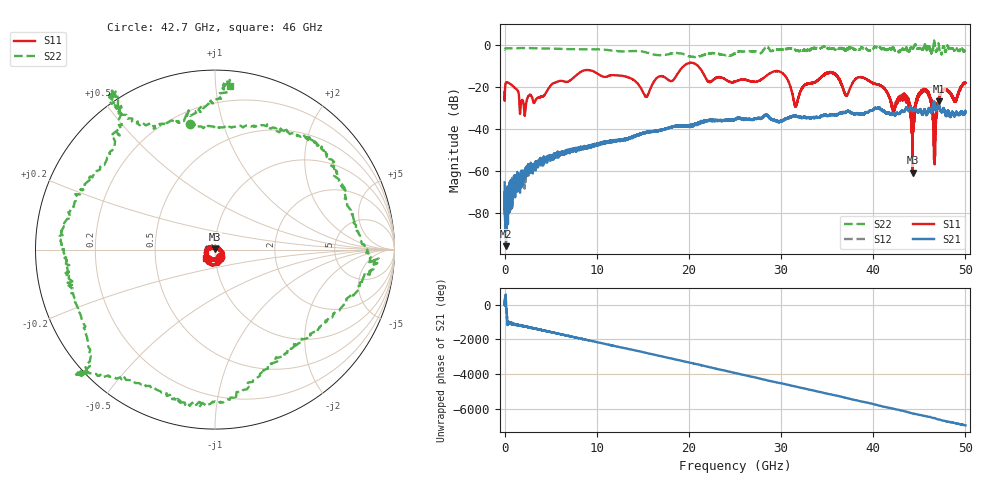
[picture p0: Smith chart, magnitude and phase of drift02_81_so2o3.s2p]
!Created with skrf (http://scikit-rf.org).
# Hz S RI R 50.0
!freq ReS11 ImS11 ReS21 ImS21 ReS12 ImS12 ReS22 ImS22
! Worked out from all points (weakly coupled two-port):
!   10001 points, 300 kHz to 50 GHz, reference 50 ohm
!   highest |S21| = -26.68 dB at 47.09 GHz (marker M1); lowest = -95.8 dB at 150.3 MHz (marker M2)
!   lowest |S11| = -60.7 dB at 44.28 GHz (marker M3), VSWR 1.00, Z = 50 + j0.0892 ohm
!   |S11| at or under -10 dB: start of sweep to 19.43 GHz; 21.00482 GHz to 21.00726 GHz (2.435 MHz wide, 0.0116 % of centre); 21.01 GHz to end of sweep
!   |S22| runs from -5.7 to 2.3 dB; largest |S21 - S12| = 0.0036
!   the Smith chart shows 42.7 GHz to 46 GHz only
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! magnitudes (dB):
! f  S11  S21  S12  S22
! 300 kHz  -22.3  -65.3  -70.5  -2.1
! 150.3 MHz  -17.8  -95.8  -69.4  -1.5
! 2.185 GHz  -33.6  -63.2  -62.3  -1.3
! 8.335 GHz  -12.5  -48.5  -49.2  -1.9
! 15.34 GHz  -24.6  -41.6  -41.5  -3.3
! 16.67 GHz  -15.1  -40.9  -40.9  -4.7
! 20.3 GHz  -8.4  -38.1  -38.3  -5.5
! 25 GHz  -17.4  -35.5  -35.3  -3.9
! 29.83 GHz  -12.5  -36.4  -36.5  -2.0
! 31.6 GHz  -29.0  -33.8  -34.1  -2.5
! 33.34 GHz  -18.0  -34.8  -34.5  -1.6
! 35.61 GHz  -13.1  -33.1  -33.1  -1.5
! 37.1 GHz  -24.1  -31.8  -31.8  -2.2
! 38.75 GHz  -15.2  -32.8  -32.6  -0.9
! 41.67 GHz  -23.9  -32.1  -32.3  -1.9
! 43.53 GHz  -25.2  -30.2  -30.3  -1.2
! 44.28 GHz  -60.7  -31.3  -31.3  -1.5
! 45.34 GHz  -21.6  -32.7  -33.1  -2.1
! 46.08 GHz  -23.8  -30.2  -30.4  -0.9
! 46.64 GHz  -41.2  -27.5  -27.2  1.6
! 47.09 GHz  -26.2  -26.7  -27.3  0.7
! 50 GHz  -18.0  -32.2  -31.6  -2.7
